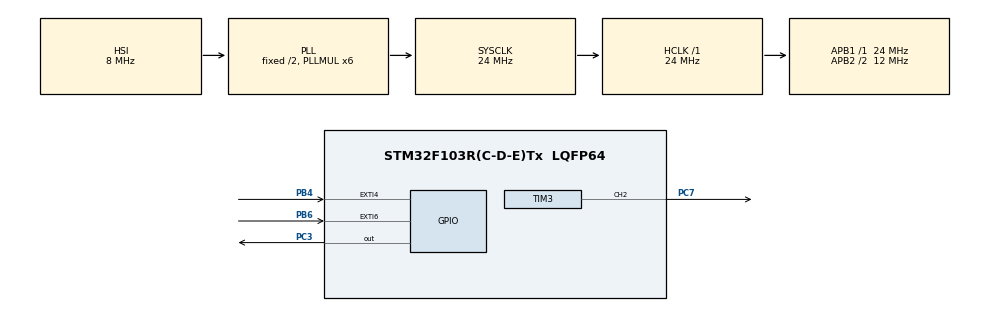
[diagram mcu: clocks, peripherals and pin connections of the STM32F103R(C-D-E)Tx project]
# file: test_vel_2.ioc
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Mcu.Family=STM32F1
Mcu.Name=STM32F103R(C-D-E)Tx
Mcu.Package=LQFP64
NVIC.EXTI4_IRQn=true\:0\:0\:false\:false\:true\:true\:true
NVIC.EXTI9_5_IRQn=true\:0\:0\:false\:false\:true\:true\:true
NVIC.PriorityGroup=NVIC_PRIORITYGROUP_4
NVIC.TIM4_IRQn=true\:0\:0\:false\:false\:true\:true\:true
NVIC.TIM5_IRQn=true\:0\:0\:false\:false\:true\:true\:true
PA13.Mode=Serial_Wire
PA13.Signal=SYS_JTMS-SWDIO
PA14.Mode=Serial_Wire
PA14.Signal=SYS_JTCK-SWCLK
PB4.GPIO_ModeDefaultEXTI=GPIO_MODE_IT_RISING_FALLING
PB4.GPIO_PuPd=GPIO_PULLUP
PB4.Signal=GPXTI4
PB6.GPIO_ModeDefaultEXTI=GPIO_MODE_IT_RISING_FALLING
PB6.GPIO_PuPd=GPIO_PULLUP
PB6.Signal=GPXTI6
PC3.Signal=GPIO_Output
PC7.Signal=S_TIM3_CH2
ProjectManager.HeapSize=0x200
ProjectManager.StackSize=0x400
ProjectManager.TargetToolchain=MDK-ARM V5
RCC.AHBFreq_Value=24000000
RCC.APB1Freq_Value=24000000
RCC.APB1TimFreq_Value=24000000
RCC.APB2CLKDivider=RCC_HCLK_DIV2
RCC.APB2Freq_Value=12000000
RCC.APB2TimFreq_Value=24000000
RCC.HCLKFreq_Value=24000000
RCC.PLLMUL=RCC_PLL_MUL6
RCC.SYSCLKFreq_VALUE=24000000
RCC.SYSCLKSource=RCC_SYSCLKSOURCE_PLLCLK
RCC.USBFreq_Value=24000000
SH.S_TIM3_CH2.0=TIM3_CH2,PWM Generation2 CH2
TIM3.Channel-PWM\ Generation2\ CH2=TIM_CHANNEL_2
TIM3.Period=100
TIM3.Prescaler=11
TIM4.Period=4
TIM4.Prescaler=23999
TIM5.Period=9
TIM5.Prescaler=23999
VP_TIM4_VS_ClockSourceINT.Mode=Internal
VP_TIM5_VS_ClockSourceINT.Mode=Internal
board=custom

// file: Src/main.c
/* USER CODE BEGIN Header */
/**
  ******************************************************************************
  * @file           : main.c
  * @brief          : Main program body
  ******************************************************************************
  * @attention
  *
  * <h2><center>&copy; Copyright (c) 2023 STMicroelectronics.
  * All rights reserved.</center></h2>
  *
  * This software component is licensed by ST under BSD 3-Clause license,
  * the "License"; You may not use this file except in compliance with the
  * License. You may obtain a copy of the License at:
  *                        opensource.org/licenses/BSD-3-Clause
  *
  ******************************************************************************
  */
/* USER CODE END Header */

#include "main.h"

/* USER CODE BEGIN Includes */
#include "string.h"
#include "stdio.h"
#include "stdlib.h"
#include "stdbool.h"
/* USER CODE END Includes */

TIM_HandleTypeDef htim3;
TIM_HandleTypeDef htim4;
TIM_HandleTypeDef htim5;

#define pi 3.1415
#define p2r pi/1000

int32_t PosCnt,Cnttmp,speed;
int16_t CountValue=0,RealVel,DesiredSpeed,HILIM=100,LOLIM=0;
uint16_t AngPos1, AngPos0,CntVel;
uint8_t PreviousState,pwm,Speedmode,tick=0;
bool run=true, dir;
float CurPos=0,DesiredPos,CurVel,Set;
char Rx_indx, Rx_Buffer[20],Rx_data[2];
int uout;

float error = 0, u_i, u_d, error_pre = 0;
float Kp = 1;
float Ki = 1;
float Kd = 0;
float dt = 0.005;

float setpoint_rad, setpoint, mv_pwm, cv_rad;

typedef enum
{
	RIGHT_DIR,
	LEFT_DIR
} dir_t;
/*
	USER CODE BEGIN PV */

/* USER CODE END PV */

void SystemClock_Config(void);
static void MX_GPIO_Init(void);
static void MX_TIM3_Init(void);
static void MX_TIM4_Init(void);
static void MX_TIM5_Init(void);

/* USER CODE BEGIN 0 */
void EXTI9_5_IRQHandler(void)	// doc encoder
{
  /* USER CODE BEGIN EXTI9_5_IRQn 0 */
unsigned char State0;
	State0 = (State0<<1) | HAL_GPIO_ReadPin(GPIOB, GPIO_PIN_4);
	State0 = (State0<<1) | HAL_GPIO_ReadPin(GPIOB, GPIO_PIN_6);
	State0 = State0&0x03;
	switch (State0) {
		case 0:
			if(PreviousState==1) CountValue++;
			else CountValue--;
		break;
		case 1:
			if(PreviousState==3) CountValue++;
			else CountValue--;
		break;
		case 2:
			if(PreviousState==0) CountValue++;
			else CountValue--;
		break;
		case 3:
			if(PreviousState==2) CountValue++;
			else CountValue--;
		break;
		}
	PreviousState = State0;
	CntVel++;
	if (CountValue>=2000) {
		CountValue = 0;
		PosCnt++;
	}
	else if	(CountValue<=-2000) {
		CountValue = 0;
		PosCnt--;
	}
  /* USER CODE END EXTI4_IRQn 0 */
  HAL_GPIO_EXTI_IRQHandler(GPIO_PIN_6);
  /* USER CODE BEGIN EXTI4_IRQn 1 */
}

/**
* @brief This function handles EXTI line3 interrupt.
*/
void EXTI4_IRQHandler(void)	// doc encoder
{
  /* USER CODE BEGIN EXTI4_IRQn 0 */
	// CHANNEL A
unsigned char State1;
	State1 = (State1<<1) | HAL_GPIO_ReadPin(GPIOB, GPIO_PIN_4);
	State1 = (State1<<1) | HAL_GPIO_ReadPin(GPIOB, GPIO_PIN_6);
	State1 = State1&0x03;
	switch (State1) {
		case 0:
			if(PreviousState==1) CountValue++;
			else CountValue--;
		break;
		case 1:
			if(PreviousState==3) CountValue++;
			else CountValue--;
		break;
		case 2:
			if(PreviousState==0) CountValue++;
			else CountValue--;
		break;
		case 3:
			if(PreviousState==2) CountValue++;
			else CountValue--;
		break;
		}
	PreviousState = State1;
	CntVel++;
	if (CountValue>=2000) {
		CountValue = 0;
		PosCnt++;
	}
	else if	(CountValue<=-2000) {
		CountValue = 0;
		PosCnt--;
	}
  /* USER CODE END EXTI3_IRQn 0 */
  HAL_GPIO_EXTI_IRQHandler(GPIO_PIN_4);
  /* USER CODE BEGIN EXTI3_IRQn 1 */

  /* USER CODE END EXTI3_IRQn 1 */
}

int16_t PID(float sp, float cv){
	error = sp - cv;
	u_i = u_i + error * dt;
	u_d = (error - error_pre) / dt;

	int16_t mv = (int16_t)Kp * error + Ki * u_i + Kd * u_d;
	error_pre = error;

	if (mv > 99)
	{
		mv = 99;
	}
	else if (mv < 0)
	{
		mv = 0;
	}

	return mv;
}

void run_motor(dir_t dir, int16_t pwm)
{
	HAL_GPIO_WritePin(GPIOC, GPIO_PIN_3, (GPIO_PinState)dir);
	__HAL_TIM_SET_COMPARE(&htim3, TIM_CHANNEL_2, pwm);
}

void run_motor_on()
{
	HAL_GPIO_WritePin(GPIOC, GPIO_PIN_3, 1);
	__HAL_TIM_SET_COMPARE(&htim3, TIM_CHANNEL_2, 99);
}

void HAL_TIM_PeriodElapsedCallback(TIM_HandleTypeDef *htim) {	// ngat timer 4 tinh van toc
	if(htim->Instance==TIM4)	// ngat do timer 4	5ms
	{
		CurPos = PosCnt*2*pi+CountValue*p2r;	// Position calculation
		Cnttmp = CntVel;
		CntVel = 0;
		RealVel = Cnttmp*6;										//RPM
		CurVel = Cnttmp*pi/5;								//rad/s

			if (run == true){
				setpoint_rad = (setpoint * 2 * pi) / 60.0;
				cv_rad = (float)(RealVel * 2 * pi) / 60.0;

				mv_pwm = PID(setpoint_rad, cv_rad);
				run_motor(RIGHT_DIR, mv_pwm);
			}
	}
}
/* USER CODE END 0 */

int main(void)
{

  /* MCU Configuration--------------------------------------------------------*/

  /* Reset of all peripherals, Initializes the Flash interface and the Systick. */
  HAL_Init();

  /* Configure the system clock */
  SystemClock_Config();

  /* Initialize all configured peripherals */
  MX_GPIO_Init();
  MX_TIM3_Init();
  MX_TIM4_Init();
  MX_TIM5_Init();
  /* USER CODE BEGIN 2 */
	HAL_TIM_PWM_Start(&htim3, TIM_CHANNEL_2);	// khoi tao timer 3
	HAL_TIM_Base_Start_IT(&htim4);						// khoi tao timer 4
	HAL_TIM_Base_Start_IT(&htim5);						// khoi tao timer 5
  /* USER CODE END 2 */
	run_motor(LEFT_DIR, 99);
  /* Infinite loop */
  while (1)
  {

  }
}

void SystemClock_Config(void)
{
  RCC_OscInitTypeDef RCC_OscInitStruct = {0};
  RCC_ClkInitTypeDef RCC_ClkInitStruct = {0};

  /** Initializes the CPU, AHB and APB busses clocks
  */
  RCC_OscInitStruct.OscillatorType = RCC_OSCILLATORTYPE_HSI;
  RCC_OscInitStruct.HSIState = RCC_HSI_ON;
  RCC_OscInitStruct.HSICalibrationValue = RCC_HSICALIBRATION_DEFAULT;
  RCC_OscInitStruct.PLL.PLLState = RCC_PLL_ON;
  RCC_OscInitStruct.PLL.PLLSource = RCC_PLLSOURCE_HSI_DIV2;
  RCC_OscInitStruct.PLL.PLLMUL = RCC_PLL_MUL6;
  if (HAL_RCC_OscConfig(&RCC_OscInitStruct) != HAL_OK)
  {
    Error_Handler();
  }
  /** Initializes the CPU, AHB and APB busses clocks
  */
  RCC_ClkInitStruct.ClockType = RCC_CLOCKTYPE_HCLK|RCC_CLOCKTYPE_SYSCLK
                              |RCC_CLOCKTYPE_PCLK1|RCC_CLOCKTYPE_PCLK2;
  RCC_ClkInitStruct.SYSCLKSource = RCC_SYSCLKSOURCE_PLLCLK;
  RCC_ClkInitStruct.AHBCLKDivider = RCC_SYSCLK_DIV1;
  RCC_ClkInitStruct.APB1CLKDivider = RCC_HCLK_DIV1;
  RCC_ClkInitStruct.APB2CLKDivider = RCC_HCLK_DIV2;

  if (HAL_RCC_ClockConfig(&RCC_ClkInitStruct, FLASH_LATENCY_0) != HAL_OK)
  {
    Error_Handler();
  }
}

static void MX_TIM3_Init(void)
{

  TIM_MasterConfigTypeDef sMasterConfig = {0};
  TIM_OC_InitTypeDef sConfigOC = {0};

  htim3.Instance = TIM3;
  htim3.Init.Prescaler = 11;
  htim3.Init.CounterMode = TIM_COUNTERMODE_UP;
  htim3.Init.Period = 100;
  htim3.Init.ClockDivision = TIM_CLOCKDIVISION_DIV1;
  htim3.Init.AutoReloadPreload = TIM_AUTORELOAD_PRELOAD_DISABLE;
  if (HAL_TIM_PWM_Init(&htim3) != HAL_OK)
  {
    Error_Handler();
  }
  sMasterConfig.MasterOutputTrigger = TIM_TRGO_RESET;
  sMasterConfig.MasterSlaveMode = TIM_MASTERSLAVEMODE_DISABLE;
  if (HAL_TIMEx_MasterConfigSynchronization(&htim3, &sMasterConfig) != HAL_OK)
  {
    Error_Handler();
  }
  sConfigOC.OCMode = TIM_OCMODE_PWM1;
  sConfigOC.Pulse = 0;
  sConfigOC.OCPolarity = TIM_OCPOLARITY_HIGH;
  sConfigOC.OCFastMode = TIM_OCFAST_DISABLE;
  if (HAL_TIM_PWM_ConfigChannel(&htim3, &sConfigOC, TIM_CHANNEL_2) != HAL_OK)
  {
    Error_Handler();
  }
  HAL_TIM_MspPostInit(&htim3);

}

static void MX_TIM4_Init(void)
{

  TIM_ClockConfigTypeDef sClockSourceConfig = {0};
  TIM_MasterConfigTypeDef sMasterConfig = {0};

  htim4.Instance = TIM4;
  htim4.Init.Prescaler = 23999;
  htim4.Init.CounterMode = TIM_COUNTERMODE_UP;
  htim4.Init.Period = 4;
  htim4.Init.ClockDivision = TIM_CLOCKDIVISION_DIV1;
  htim4.Init.AutoReloadPreload = TIM_AUTORELOAD_PRELOAD_DISABLE;
  if (HAL_TIM_Base_Init(&htim4) != HAL_OK)
  {
    Error_Handler();
  }
  sClockSourceConfig.ClockSource = TIM_CLOCKSOURCE_INTERNAL;
  if (HAL_TIM_ConfigClockSource(&htim4, &sClockSourceConfig) != HAL_OK)
  {
    Error_Handler();
  }
  sMasterConfig.MasterOutputTrigger = TIM_TRGO_RESET;
  sMasterConfig.MasterSlaveMode = TIM_MASTERSLAVEMODE_DISABLE;
  if (HAL_TIMEx_MasterConfigSynchronization(&htim4, &sMasterConfig) != HAL_OK)
  {
    Error_Handler();
  }

}

static void MX_TIM5_Init(void)
{

  TIM_ClockConfigTypeDef sClockSourceConfig = {0};
  TIM_MasterConfigTypeDef sMasterConfig = {0};

  htim5.Instance = TIM5;
  htim5.Init.Prescaler = 23999;
  htim5.Init.CounterMode = TIM_COUNTERMODE_UP;
  htim5.Init.Period = 9;
  htim5.Init.ClockDivision = TIM_CLOCKDIVISION_DIV1;
  htim5.Init.AutoReloadPreload = TIM_AUTORELOAD_PRELOAD_DISABLE;
  if (HAL_TIM_Base_Init(&htim5) != HAL_OK)
  {
    Error_Handler();
  }
  sClockSourceConfig.ClockSource = TIM_CLOCKSOURCE_INTERNAL;
  if (HAL_TIM_ConfigClockSource(&htim5, &sClockSourceConfig) != HAL_OK)
  {
    Error_Handler();
  }
  sMasterConfig.MasterOutputTrigger = TIM_TRGO_RESET;
  sMasterConfig.MasterSlaveMode = TIM_MASTERSLAVEMODE_DISABLE;
  if (HAL_TIMEx_MasterConfigSynchronization(&htim5, &sMasterConfig) != HAL_OK)
  {
    Error_Handler();
  }

}

static void MX_GPIO_Init(void)
{
  GPIO_InitTypeDef GPIO_InitStruct = {0};

  /* GPIO Ports Clock Enable */
  __HAL_RCC_GPIOC_CLK_ENABLE();
  __HAL_RCC_GPIOA_CLK_ENABLE();
  __HAL_RCC_GPIOB_CLK_ENABLE();

  /*Configure GPIO pin Output Level */
  HAL_GPIO_WritePin(GPIOC, GPIO_PIN_3, GPIO_PIN_RESET);

  /*Configure GPIO pin : PC3 */
  GPIO_InitStruct.Pin = GPIO_PIN_3;
  GPIO_InitStruct.Mode = GPIO_MODE_OUTPUT_PP;
  GPIO_InitStruct.Pull = GPIO_NOPULL;
  GPIO_InitStruct.Speed = GPIO_SPEED_FREQ_LOW;
  HAL_GPIO_Init(GPIOC, &GPIO_InitStruct);

  /*Configure GPIO pins : PB4 PB6 */
  GPIO_InitStruct.Pin = GPIO_PIN_4|GPIO_PIN_6;
  GPIO_InitStruct.Mode = GPIO_MODE_IT_RISING_FALLING;
  GPIO_InitStruct.Pull = GPIO_PULLUP;
  HAL_GPIO_Init(GPIOB, &GPIO_InitStruct);

  /* EXTI interrupt init*/
  HAL_NVIC_SetPriority(EXTI4_IRQn, 0, 0);
  HAL_NVIC_EnableIRQ(EXTI4_IRQn);

  HAL_NVIC_SetPriority(EXTI9_5_IRQn, 0, 0);
  HAL_NVIC_EnableIRQ(EXTI9_5_IRQn);

}

void Error_Handler(void)
{
}

/************************ (C) COPYRIGHT STMicroelectronics *****END OF FILE****/
